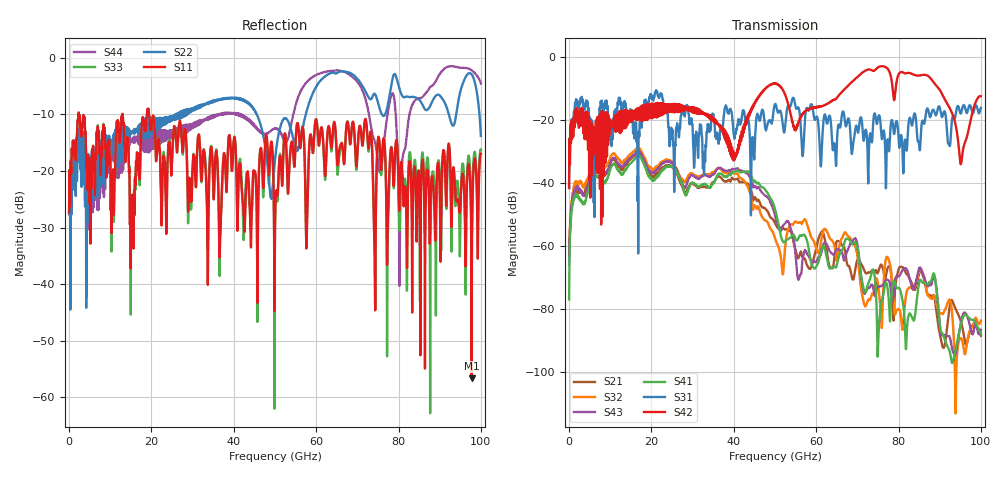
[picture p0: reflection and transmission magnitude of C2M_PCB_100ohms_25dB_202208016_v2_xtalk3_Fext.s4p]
! Info: Touchstone file created by Circ.  Input file=Intel_C2M_200G_10p5in_202208016_staggered.circ
# Hz S RI R 50
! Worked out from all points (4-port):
!   10000 points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, 10 MHz to 100 GHz, reference 50 ohm
!   strongest paths, dB at 10 MHz, 25.01 GHz, 50.01 GHz, 75.01 GHz, 100 GHz:
!     S42: -41.6, -15.2, -8.7, -3.4, -12.6
!     S31: -41.8, -24.0, -15.1, -19.7, -16.2
!     S41: -77.1, -34.9, -48.4, -92.1, -88.0
!     S43: -66.2, -33.7, -50.4, -72.9, -86.7
!     S32: -63.1, -33.4, -57.6, -72.3, -83.8
!     S21: -58.6, -34.9, -52.8, -68.5, -88.6
!   lowest |S11| = -56.6 dB at 97.76 GHz (marker M1), VSWR 1.00, Z = 50.1 - j0.0534 ohm
!   |S11| at or under -10 dB: 2.384 GHz to 12.96 GHz (10.58 GHz wide, 138 % of centre); 13.02 GHz to 18.91 GHz (5.89 GHz wide, 36.9 % of centre); 19.39 GHz to end of sweep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
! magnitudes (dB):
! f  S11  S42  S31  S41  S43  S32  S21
! 10 MHz  -27.3  -41.6  -41.8  -77.1  -66.2  -63.1  -58.6
! 1.49 GHz  -16.2  -18.3  -14.9  -44.6  -42.4  -40.4  -42.7
! 16.92 GHz  -19.9  -19.6  -24.1  -31.5  -30.1  -29.1  -30.5
! 66.22 GHz  -15.1  -11.3  -18.8  -61.7  -61.9  -57.7  -59.7
! 80.36 GHz  -21.9  -5.1  -27.1  -73.9  -69.2  -80.7  -66.7
! 97.76 GHz  -56.6  -18.7  -17.0  -83.5  -87.6  -86.1  -85.7
! 100 GHz  -16.9  -12.6  -16.2  -88.0  -86.7  -83.8  -88.6
